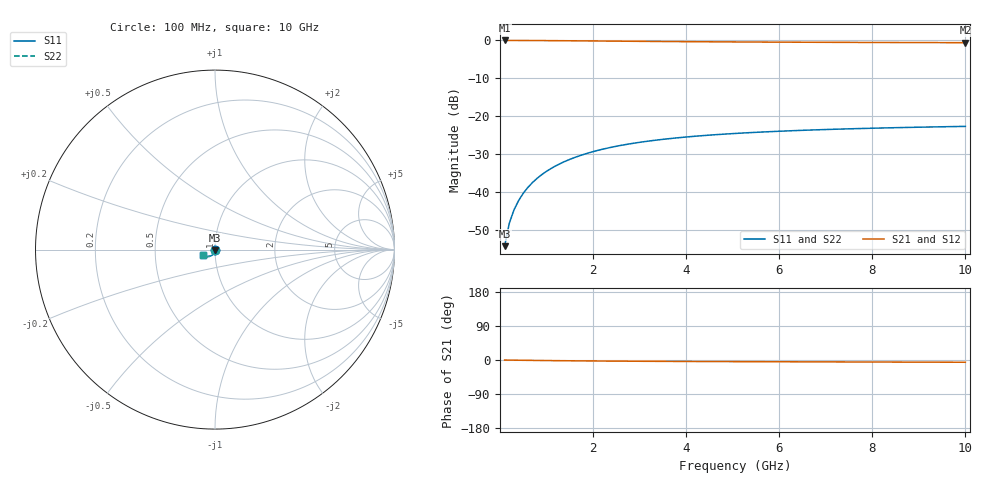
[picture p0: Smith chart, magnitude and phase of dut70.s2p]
! Touchstone file exported from HFSS 2024.1.0
!  File:  C:/UserFiles/LocalFiles/RDL_TSV_Batchsim/temp_TSV1_70_1778750109.aedt
!  Generated:  05:21:18 PM May 14, 2026
!  Design:  TSV1
!  Project:  temp_TSV1_70_1778750109
!  Setup:  Setup1
!  Solution:  Sweep
! Variables:
!  dtsv = 13.13um
!  hbump = 3um
!  htsv = 90.99um
!  lrdl = 252.1521522um
!  p = 40
!  p1 = 42.46um
!  t = 500um
!  trdl = 3um
!  wrdl = 24.89489489um
# GHz S MA R 50.000000
! Terminal data exported
! Port[1] = TSV22_T1
! Port[2] = TSV22_T2
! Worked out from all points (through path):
!   100 points, 100 MHz to 10 GHz, reference 50 ohm
!   highest |S21| = 0.00 dB at 100 MHz (marker M1); lowest = -0.6 dB at 10 GHz (marker M2)
!   lowest |S11| = -54.3 dB at 100 MHz (marker M3), VSWR 1.00, Z = 50 - j0.192 ohm
!   |S11| at or under -10 dB: start of sweep to end of sweep
!   |S22| runs from -54.3 to -22.7 dB; largest |S21 - S12| = 2.4e-15
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0.1  0.001924 -88.5  0.9998 -0.2  0.9998 -0.2  0.001924 -88.5
! Gamma 0 0 0 0
! Port Impedance 50 0 50 0
0.2  0.003846 -91.3  0.9997 -0.3  0.9997 -0.3  0.003846 -91.3
0.3  0.005769 -93.2  0.9994 -0.5  0.9994 -0.5  0.005769 -93.2
0.4  0.007685 -94.9  0.999 -0.6  0.999 -0.6  0.007685 -94.9
0.5  0.009586 -96.5  0.9986 -0.8  0.9986 -0.8  0.009586 -96.5
0.6  0.01147 -98.1  0.998 -0.9  0.998 -0.9  0.01147 -98.1
0.7  0.01332 -99.6  0.9974 -1.0  0.9974 -1.0  0.01332 -99.6
0.8  0.01515 -101.1  0.9967 -1.2  0.9967 -1.2  0.01515 -101.1
0.9  0.01695 -102.6  0.996 -1.3  0.996 -1.3  0.01695 -102.6
1.1  0.02043 -105.4  0.9943 -1.6  0.9943 -1.6  0.02043 -105.4
1.4  0.02536 -109.5  0.9914 -1.9  0.9914 -1.9  0.02536 -109.5
1.6  0.02843 -112.0  0.9892 -2.2  0.9892 -2.2  0.02843 -112.0
1.8  0.03132 -114.4  0.987 -2.4  0.987 -2.4  0.03132 -114.4
2.1  0.03533 -117.8  0.9836 -2.6  0.9836 -2.6  0.03533 -117.8
2.5  0.04009 -121.9  0.9791 -3.0  0.9791 -3.0  0.04009 -121.9
2.9  0.04424 -125.5  0.9747 -3.3  0.9747 -3.3  0.04424 -125.5
3.4  0.04868 -129.5  0.9695 -3.6  0.9695 -3.6  0.04868 -129.5
4.2  0.05443 -134.8  0.9623 -4.0  0.9623 -4.0  0.05443 -134.8
5.1  0.05941 -139.5  0.9556 -4.3  0.9556 -4.3  0.05941 -139.5
6.7  0.06575 -145.9  0.9465 -4.9  0.9465 -4.9  0.06575 -145.9
8.4  0.07031 -150.7  0.9396 -5.4  0.9396 -5.4  0.07031 -150.7
10  0.07337 -154.2  0.9349 -5.9  0.9349 -5.9  0.07337 -154.2
